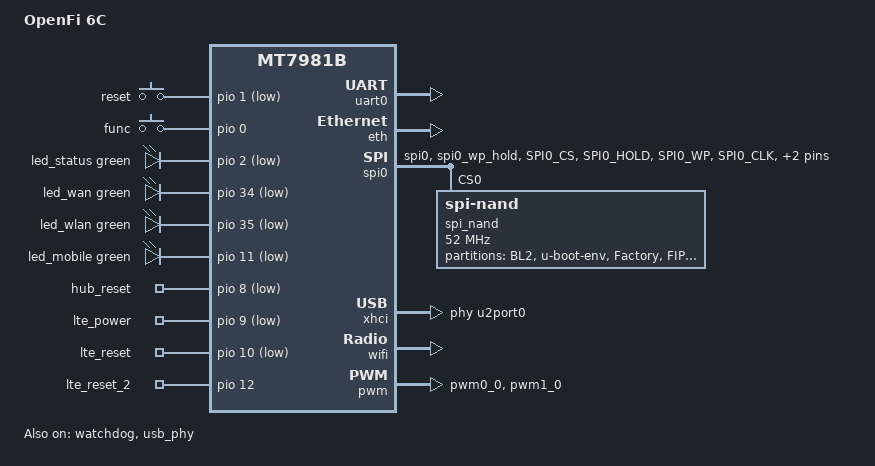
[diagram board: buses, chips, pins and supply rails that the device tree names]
// SPDX-License-Identifier: (GPL-2.0 OR MIT)
/*
 * OpenFi 6C —— MT7981B + 256MB RAM + 1GB SPI-NAND + M.2 (5G 模组)
 *
 * 这份 dts 的事实来源是【原厂固件的 DTB】(反编译后逐项核对过):
 *   · 按键 reset = pio1 ACTIVE_LOW / KEY_RESTART
 *   · 按键 func  = pio0 ACTIVE_HIGH / KEY_CONFIG(0xab)
 *   · LED system(pio2) / internet(pio34) / wifi(pio35) / modem(pio11),全 ACTIVE_LOW
 *   · gpio-export:hub_reset(8) / lte_power(9) / lte_reset(10) / lte_reset_2(12,ACTIVE_HIGH)
 *   · Factory 分区 0x180000 +0x200000,MAC 在偏移 0x04
 *   · SPI-NAND 除 mux 外还有 conf-pu / conf-pd
 *
 * 与上游同名文件的区别:
 *   · 它把 gpio 8 当成 usb_vbus 稳压器,但原厂 gpio 8 是【HUB 复位】
 *     → 这么写会把 HUB 复位信号抢走
 *   · 它的按键写成 mode/EV_SW/ACTIVE_LOW,与硬件相反
 *   · 它没有 SPI-NAND 的 conf-pu / conf-pd,也没有 xhci 的 USB3 配置
 *   · 它没写 gmac0,也没覆盖 fan 的 cooling-levels
 *
 * WiFi 节点说明(容易搞错):
 *   本 base(6.12 + MTK feeds)把 vendor 原来的两个节点【合并成一个】了:
 *       wifi: wifi@18000000 {
 *           compatible = "mediatek,wbsys", "mediatek,mt7981-wmac";
 *           chip_id = <0x7981>;
 *       };
 *   见 patches-6.12/999-zzz-5005-dts-mtk-mt7981b-add-mtwifi-support.patch
 *   → 【没有 &wbsys 这个标签】,闭源驱动认的就是 &wifi。
 *     写 &wbsys 会 dtc 报未定义标签。
 */

/dts-v1/;

/*
 * 这些头在老 base 里是 mt7981.dtsi 自带的;新 base 的 mt7981b.dtsi 不一定带,
 * 而本目录其他板子(asr3000 / airtel / re3000 …)都显式列出来。
 * 重复 include 无害(头文件都有 #ifndef 保护),所以这里显式写全,避免宏找不到。
 */
#include <dt-bindings/gpio/gpio.h>
#include <dt-bindings/input/input.h>
#include <dt-bindings/leds/common.h>
#include <dt-bindings/phy/phy.h>
#include <dt-bindings/pinctrl/mt65xx.h>

#include "mt7981b.dtsi"

/ {
	model = "OpenFi 6C";
	compatible = "openfi,6c", "mediatek,mt7981b";

	aliases {
		label-mac-device = &gmac1;
		led-boot = &led_status;
		led-failsafe = &led_status;
		led-running = &led_status;
		led-upgrade = &led_status;
		serial0 = &uart0;
	};

	chosen {
		stdout-path = "serial0:115200n8";
	};

	gpio-keys {
		compatible = "gpio-keys";

		reset {
			label = "reset";
			linux,code = <KEY_RESTART>;
			gpios = <&pio 1 GPIO_ACTIVE_LOW>;
		};

		/*
		 * 物理模式开关。
		 * 键值与极性【必须】对齐原厂 DTB:ACTIVE_HIGH + 0xab = KEY_CONFIG。
		 * 写反了(比如 ACTIVE_LOW / EV_SW / BTN_0)会让读到的状态相反。
		 */
		func {
			label = "func";
			linux,code = <KEY_CONFIG>;
			gpios = <&pio 0 GPIO_ACTIVE_HIGH>;
			debounce-interval = <60>;
		};
	};

	leds {
		compatible = "gpio-leds";

		/*
		 * 按 Linux 官方命名法定名:function + color。
		 * sysfs 里的名字就是 <color>:<function>,即:
		 *     green:status / green:wan / green:wlan / green:mobile
		 *
		 * 不要用 label 定名 —— 那样名字由 label 直接决定(system/internet/…),
		 * 和内核/其他板的风格不一致。用户态脚本统一按 green:<function> 找。
		 *
		 * default-state 对齐原厂 DTB(前三盏常亮、modem 灭)。
		 * 不加 linux,default-trigger —— 四盏灯都归用户态 openfi-led 管。
		 */
		led_status: led-0 {
			function = LED_FUNCTION_STATUS;
			color = <LED_COLOR_ID_GREEN>;
			gpios = <&pio 2 GPIO_ACTIVE_LOW>;
			default-state = "on";
		};

		led_wan: led-1 {
			function = LED_FUNCTION_WAN;
			color = <LED_COLOR_ID_GREEN>;
			gpios = <&pio 34 GPIO_ACTIVE_LOW>;
			default-state = "on";
		};

		led_wlan: led-2 {
			function = LED_FUNCTION_WLAN;
			color = <LED_COLOR_ID_GREEN>;
			gpios = <&pio 35 GPIO_ACTIVE_LOW>;
			default-state = "on";
		};

		led_mobile: led-3 {
			function = LED_FUNCTION_MOBILE;
			color = <LED_COLOR_ID_GREEN>;
			gpios = <&pio 11 GPIO_ACTIVE_LOW>;
			default-state = "off";
		};
	};

	gpio-export {
		compatible = "gpio-export";

		/*
		 * gpio 8 是 USB HUB 的复位脚,不是 USB VBUS 控制。
		 * 上游那份 dts 把它写成了 regulator-usb-vbus 并挂到 xhci 的
		 * vbus-supply 上,等于把 HUB 复位抢走了 —— 不要那么写。
		 */
		hub_reset {
			gpio-export,name = "hub_reset";
			gpio-export,output = <0>;
			gpios = <&pio 8 GPIO_ACTIVE_LOW>;
		};

		lte_power {
			gpio-export,name = "lte_power";
			gpio-export,output = <1>;
			gpios = <&pio 9 GPIO_ACTIVE_LOW>;
		};

		lte_reset {
			gpio-export,name = "lte_reset";
			gpio-export,output = <1>;
			gpios = <&pio 10 GPIO_ACTIVE_LOW>;
		};

		lte_reset_2 {
			gpio-export,name = "lte_reset_2";
			gpio-export,output = <0>;
			gpios = <&pio 12 GPIO_ACTIVE_HIGH>;
		};
	};

};

/*
 * 风扇:这里【故意不写 &fan】。
 *
 * dtsi 里那个 pwm-fan 节点本来就带 cooling-levels、而且默认就是 disabled,
 * 而本板的风扇由用户态独占 —— openfi-fan 直接写
 *     /sys/class/pwm/pwmchip0/pwm0(+pwm1) 的 period / duty_cycle,
 * 完全不用内核那套 thermal cooling level(那张表写了也是死代码)。
 *
 * 所以:保持 dtsi 的默认(disabled)即可,不要动它。
 * 一旦 pwm-fan 驱动 probe,它会占住 pwm 通道,用户态再 export 就会 EBUSY。
 * 相关说明见文件末尾的 &pwm。
 */

&uart0 {
	status = "okay";
};

&watchdog {
	status = "okay";
};

&eth {
	pinctrl-names = "default";
	pinctrl-0 = <&mdio_pins>;

	status = "okay";

	/*
	 * gmac0 连着一条 2500base-x 的固定链路(SERDES 直连,没有 PHY 芯片)。
	 * 实测这个口开机以来 rx 一直是 0 —— 另一端没有任何东西在通信,
	 * 但节点要留着:它是对硬件拓扑的如实描述。
	 */
	gmac0: mac@0 {
		compatible = "mediatek,eth-mac";
		reg = <0>;
		phy-mode = "2500base-x";

		fixed-link {
			speed = <2500>;
			full-duplex;
			pause;
		};
	};

	/* gmac1 才是那个唯一的实体网口(br-lan 成员) */
	gmac1: mac@1 {
		compatible = "mediatek,eth-mac";
		reg = <1>;
		phy-mode = "gmii";
		phy-handle = <&int_gbe_phy>;
		nvmem-cells = <&macaddr 0>;
		nvmem-cell-names = "mac-address";
	};
};

&spi0 {
	pinctrl-names = "default";
	pinctrl-0 = <&spi0_flash_pins>;
	status = "okay";

	spi_nand: flash@0 {
		#address-cells = <1>;
		#size-cells = <1>;
		compatible = "spi-nand";
		reg = <0>;
		spi-max-frequency = <52000000>;

		spi-cal-enable;
		spi-cal-mode = "read-data";
		spi-cal-datalen = <7>;
		spi-cal-data = /bits/ 8 <0x53 0x50 0x49 0x4E 0x41 0x4E 0x44>;
		spi-cal-addrlen = <5>;
		spi-cal-addr = /bits/ 32 <0x0 0x0 0x0 0x0 0x0>;

		spi-tx-bus-width = <4>;
		spi-rx-bus-width = <4>;
		mediatek,nmbm;
		mediatek,bmt-max-ratio = <1>;
		mediatek,bmt-max-reserved-blocks = <64>;

		partitions {
			compatible = "fixed-partitions";
			#address-cells = <1>;
			#size-cells = <1>;

			partition@0 {
				label = "BL2";
				reg = <0x00000 0x0100000>;
				read-only;
			};

			partition@100000 {
				label = "u-boot-env";
				reg = <0x0100000 0x0080000>;
			};

			factory: partition@180000 {
				label = "Factory";
				reg = <0x180000 0x0200000>;

				/*
				 * macaddr 必须包在 nvmem-layout/fixed-layout 里,并声明
				 * mac-base + #nvmem-cell-cells,否则 gmac1 的
				 *   nvmem-cells = <&macaddr 0>;
				 * 取不到值,eth1 会退化成随机 MAC。
				 * 偏移 0x4 与原厂 board.d 的
				 *   mtd_get_mac_binary Factory 0x04
				 * 一致,保持不变。
				 */
				nvmem-layout {
					compatible = "fixed-layout";
					#address-cells = <1>;
					#size-cells = <1>;

					macaddr: macaddr@0 {
						compatible = "mac-base";
						reg = <0x4 0x6>;
						#nvmem-cell-cells = <1>;
					};
				};
			};

			partition@380000 {
				label = "FIP";
				reg = <0x380000 0x0200000>;
				read-only;
			};

			partition@580000 {
				label = "hw";
				reg = <0x0580000 0x0080000>;
				read-only;
			};

			partition@600000 {
				label = "cfg";
				reg = <0x0600000 0x0080000>;
				read-only;
			};

			partition@680000 {
				label = "ubi";
				reg = <0x680000 0xe980000>;
			};
		};
	};
};

&pio {
	/*
	 * SPI-NAND 是启动介质。除 mux 之外必须补 conf-pu / conf-pd:
	 * CS/HOLD/WP 上拉、CLK/MOSI/MISO 下拉 + 8mA 驱动强度。
	 * 这与原厂 DTB 一致(原厂写作 drive-strength=<8>、bias=<0x67>),
	 * 本树内其余 12+ 块 MT7981 板也都有这两组。
	 */
	spi0_flash_pins: spi0-pins {
		mux {
			function = "spi";
			groups = "spi0", "spi0_wp_hold";
		};

		conf-pu {
			pins = "SPI0_CS", "SPI0_HOLD", "SPI0_WP";
			drive-strength = <MTK_DRIVE_8mA>;
			bias-pull-up = <MTK_PUPD_SET_R1R0_11>;
		};

		conf-pd {
			pins = "SPI0_CLK", "SPI0_MOSI", "SPI0_MISO";
			drive-strength = <MTK_DRIVE_8mA>;
			bias-pull-down = <MTK_PUPD_SET_R1R0_11>;
		};
	};

	pwm_pins: pwm-pins {
		mux {
			function = "pwm";
			groups = "pwm0_0", "pwm1_0";
		};
	};
};

&usb_phy {
	status = "okay";
};

&xhci {
	/*
	 * 原厂 DTB 里 u3p-dis-msk = <0>,即 USB3 全部使能;
	 * 并且显式列出两个 PHY(u2port0 / u3port0)。
	 * 上游那份 dts 缺这两处 —— USB3 会退回 USB2。
	 */
	mediatek,u3p-dis-msk = <0x0>;
	phys = <&u2port0 PHY_TYPE_USB2>,
	       <&u3port0 PHY_TYPE_USB3>;
	status = "okay";
};

/*
 * WiFi —— dtsi 里默认 status = "disabled",必须显式打开。
 *
 * 注意:6.12 + MTK feeds 把 vendor 原来的 wbsys / wifi 两个节点【合并成一个】了
 * (compatible 里带上了 "mediatek,wbsys"),
 * 所以【没有 &wbsys 这个标签】,闭源 mt_wifi 驱动认的就是这个 &wifi 节点。
 *
 * 这里只写 status,不加任何 eeprom 属性 —— 跟本目录的 cmcc-rax3000m 一样
 * (那是本目录最简的写法),也和原厂 DTB 一致(原厂 wbsys 节点里没有 eeprom 属性)。
 * 校准数据由驱动自己去找(MTK feeds 里有 universal-eeprom-read-write-backend)。
 *
 * ⚠️ 万一刷上去发现 WiFi 起不来或功率/信道异常,再按这两种写法之一补上:
 *        nvmem-cells = <&eeprom_factory_0>;
 *        nvmem-cell-names = "eeprom";
 *    (airpi-ap3000m / abt-asr3000 / comfast 是这样写的,需要自己定义那个 cell)
 *    或者
 *        mediatek,mtd-eeprom = <&factory 0>;
 *    (glinet-gl-mt3000 是这样写的,直接用整个 Factory 分区)
 */
&wifi {
	/*
	 * 整块读 Factory 当 EEPROM(校准数据 + WiFi MAC)。
	 *
	 * 6.6 那棵树就是这么写的(写在 &wbsys 节点上)。
	 * 25.12 的闭源驱动虽然能兜底去裸 MTD 找 "Factory"/"factory" 分区,
	 * 但 MTK 官方参考板(mt7981-rfb 的 overlay)也是显式写的 ——
	 * 有兜底不代表该依赖兜底,写明白更稳。
	 */
	mediatek,mtd-eeprom = <&factory 0>;
	status = "okay";
};

/*
 * HNAT 的口位分类。
 *
 * 【这里不是"规定谁是 WAN"】
 *   逻辑上的 WAN/LAN 由 firewall + network 配置在 userspace 决定,是动态的;
 *   而 HNAT 的分类是驱动 probe 时从 DTS 读的静态值,那时候 userspace 还没起来。
 *   两者不在一个层面:
 *     · 逻辑 WAN/LAN 配错 → 上不了网
 *     · HNAT 分类不对     → 能上网,但【不加速】→ CPU 占用高、转发掉速
 *
 * 【分类只决定"走哪条快路径",不决定"能不能双向加速"】
 *   一条流绑定之后,FOE 表项里同时存了原始四元组(sip/dip/sport/dport)
 *   和转换后四元组(new_sip/new_dip/new_sport/new_dport),去程回程都走硬件。
 *   所以"卸载"这件事本身就是双向的。
 *
 * 【本板两个口都可能承载 WAN 流量】
 *   usb0 / wwan0 —— 5G 模组(常态)     → 靠 ext-devices-prefix 的 "usb" 归为 EXT
 *   eth1         —— 实体网口(插宽带时) → 归为 LAN
 *   两者都在 hnat_set_iif() 认的合法分类里
 *   (LAN / LAN2 / PPD / EXT / WAN / VIRTUAL),
 *   所以【不需要把谁"标成 WAN"】。
 *   而且 do_ge2ext_fast 的判定是 (IS_LAN_GRP || IS_WAN || IS_PPD) ——
 *   LAN 也算,所以物理口无论当 LAN 还是当 WAN 都能走硬件加速。
 *
 * 【取值注意:IS_WAN 是前缀匹配,不是相等】
 *   #define IS_WAN(dev) (!strncmp((dev)->name, WAN_DEV_NAME, strlen(WAN_DEV_NAME)))
 *   所以不要写 "/"  —— strlen=1,网卡名不可能以 '/' 开头,等于 IS_WAN 恒假;
 *   也不要写 ""   —— strlen=0,strncmp 恒为 0,所有设备都算 WAN,会打乱判断。
 *   写一个具体的名字即可。
 *
 * 【本板不写 &hnat 覆盖块】
 *   dtsi 已经被 patches-6.12/999-zzz-5003-dts-mtk-mt7981b-hnat-enable-mtkhnat.patch
 *   设成了:
 *       status = "okay"
 *       mtketh-wan = "eth1" / mtketh-lan = "lan"
 *       mtketh-max-gmac = <2> / mtketh-ppe-num = <2>
 *       ext-devices-prefix = "wwan", "usb", "eth"
 *   这套值对本板是可用的:
 *       usb0/wwan0(5G 模组)→ 命中 "usb" 前缀 → 归 EXT
 *       eth1(实体网口)     → 命中 "eth" 前缀 → 归 EXT;
 *                            同时 IS_WAN("eth1") 为真,
 *                            所以 do_ge2ext_fast() 的 (LAN||WAN||PPD) 也成立
 *   也就是说两个口无论谁在当 WAN,硬件加速都成立,不需要我们再覆盖。
 *   —— 能少定义就少定义,所以这里【故意不写 &hnat】。
 *
 *   ⚠️ 唯一要记住的:千万别把它改成 "/" 或 ""(原因见上面前缀匹配那段)。
 */

/*
 * PWM:只做两件事 —— 打开控制器、把引脚 mux 上(pwm0_0 + pwm1_0)。
 * 两路是反向的,由用户态独占,所以 dtsi 里那个 pwm-fan 保持它自己的 disabled 不动。
 */
&pwm {
	pinctrl-names = "default";
	pinctrl-0 = <&pwm_pins>;
	status = "okay";
};
